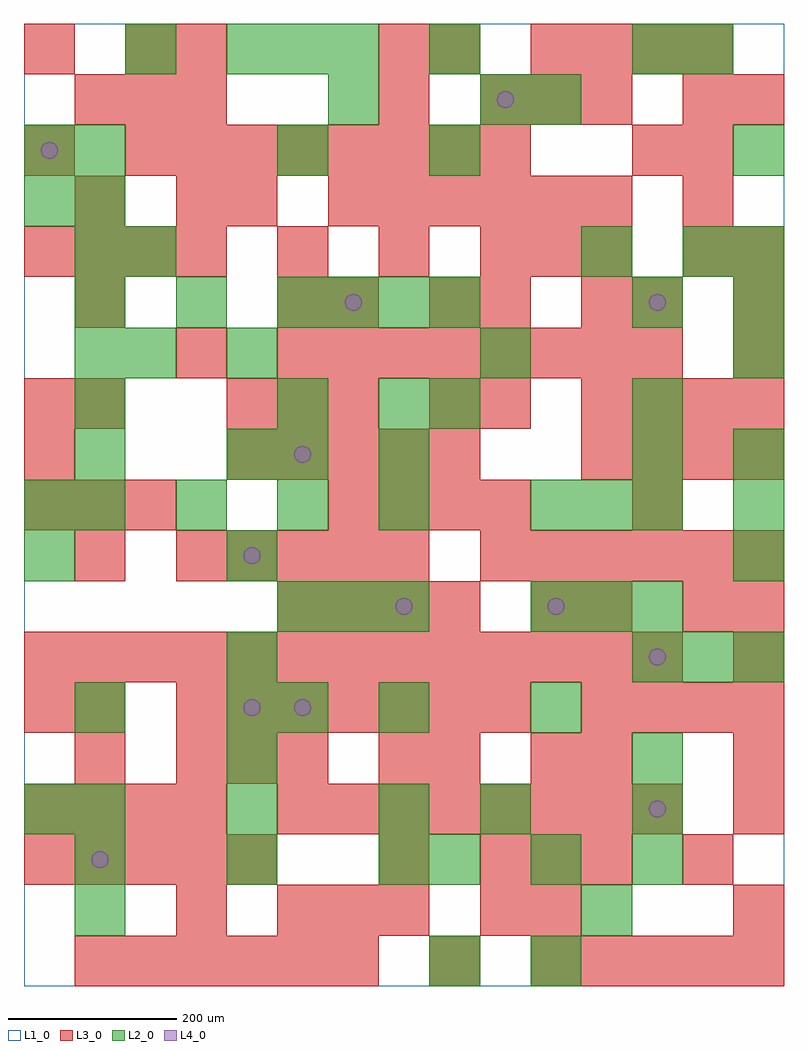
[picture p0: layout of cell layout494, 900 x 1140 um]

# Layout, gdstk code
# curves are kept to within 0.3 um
import gdstk
lib = gdstk.Library(unit=1e-6, precision=1e-09)
def R(c, l, rs):  # rectangles x0, y0, x1, y1
    for r in rs: c.add(gdstk.rectangle(r[:2], r[2:], *l))
def A(c, l, x, y, w, h, nx, ny, dx, dy):  # array of equal rectangles
    R(c, l, [(x+i*dx, y+j*dy, x+i*dx+w, y+j*dy+h) for i in range(nx) for j in range(ny)])
def P(c, l, *ps):  # polygons
    for p in ps: c.add(gdstk.Polygon(p, *l))
L1_0 = (1, 0)
L2_0 = (2, 0)
L3_0 = (3, 0)
L4_0 = (4, 0)

layout494 = lib.new_cell('layout494')
R(layout494, L1_0, [(0,0,900,1140)])
A(layout494, L2_0, 60, 120, 60, 60, 3, 2, 180, 60)
A(layout494, L2_0, 480, 120, 60, 60, 3, 1, 120, 0)
A(layout494, L2_0, 240, 240, 60, 60, 1, 3, 0, 60)
A(layout494, L2_0, 720, 360, 60, 60, 3, 1, 60, 0)
A(layout494, L2_0, 300, 420, 60, 60, 3, 1, 60, 0)
A(layout494, L2_0, 600, 420, 60, 60, 3, 2, 60, 120)
A(layout494, L2_0, 840, 480, 60, 60, 1, 3, 0, 60)
A(layout494, L2_0, 60, 540, 60, 60, 4, 1, 120, 0)
A(layout494, L2_0, 60, 600, 60, 60, 1, 3, 0, 60)
A(layout494, L2_0, 240, 720, 60, 60, 3, 1, 300, 0)
A(layout494, L2_0, 60, 780, 60, 60, 3, 1, 120, 0)
A(layout494, L2_0, 360, 780, 60, 60, 3, 1, 60, 0)
A(layout494, L2_0, 60, 840, 60, 60, 1, 3, 0, 60)
A(layout494, L2_0, 240, 1080, 60, 60, 3, 1, 60, 0)
R(layout494, L2_0, [(480,0,540,60), (600,0,660,60), (60,60,120,120), (660,60,720,120), (0,180,60,240), (540,180,600,240), (720,180,780,240), (720,240,780,300), (60,300,120,360), (300,300,360,360), (420,300,480,360), (600,300,660,360), (0,480,60,540), (240,480,300,540), (0,540,60,600), (240,600,300,660), (300,600,360,660), (420,600,480,660), (720,600,780,660), (300,660,360,720), (420,660,480,720), (480,660,540,720), (720,660,780,720), (120,720,180,780), (720,780,780,840), (840,780,900,840), (120,840,180,900), (660,840,720,900), (780,840,840,900), (840,840,900,900), (0,900,60,960), (0,960,60,1020), (300,960,360,1020), (480,960,540,1020), (840,960,900,1020), (360,1020,420,1080), (540,1020,600,1080), (600,1020,660,1080), (120,1080,180,1140), (480,1080,540,1140), (720,1080,780,1140), (780,1080,840,1140)])
A(layout494, L3_0, 60, 0, 60, 60, 6, 1, 60, 0)
A(layout494, L3_0, 600, 0, 60, 60, 5, 1, 60, 0)
A(layout494, L3_0, 300, 60, 60, 60, 3, 1, 60, 0)
A(layout494, L3_0, 600, 60, 60, 60, 1, 3, 0, 180)
A(layout494, L3_0, 0, 120, 60, 60, 5, 1, 60, 0)
A(layout494, L3_0, 540, 120, 60, 60, 3, 2, 60, 900)
A(layout494, L3_0, 0, 180, 60, 60, 4, 2, 60, 660)
A(layout494, L3_0, 300, 180, 60, 60, 8, 2, 60, 540)
A(layout494, L3_0, 180, 240, 60, 60, 3, 1, 60, 0)
A(layout494, L3_0, 60, 300, 60, 60, 1, 3, 0, 180)
A(layout494, L3_0, 180, 300, 60, 60, 7, 1, 60, 0)
A(layout494, L3_0, 660, 300, 60, 60, 4, 2, 60, 300)
A(layout494, L3_0, 0, 360, 60, 60, 13, 1, 60, 0)
A(layout494, L3_0, 300, 420, 60, 60, 4, 1, 60, 0)
A(layout494, L3_0, 180, 480, 60, 60, 5, 1, 60, 0)
A(layout494, L3_0, 540, 480, 60, 60, 6, 1, 60, 0)
A(layout494, L3_0, 0, 540, 60, 60, 3, 1, 60, 0)
A(layout494, L3_0, 360, 540, 60, 60, 4, 1, 60, 0)
A(layout494, L3_0, 240, 600, 60, 60, 5, 1, 60, 0)
A(layout494, L3_0, 240, 660, 60, 60, 3, 1, 60, 0)
A(layout494, L3_0, 660, 660, 60, 60, 4, 1, 60, 0)
A(layout494, L3_0, 180, 720, 60, 60, 1, 3, 0, 180)
A(layout494, L3_0, 840, 720, 60, 60, 1, 3, 0, 60)
A(layout494, L3_0, 300, 840, 60, 60, 3, 1, 120, 0)
A(layout494, L3_0, 780, 840, 60, 60, 1, 4, 0, 60)
A(layout494, L3_0, 360, 900, 60, 60, 6, 1, 60, 0)
A(layout494, L3_0, 120, 960, 60, 60, 8, 1, 60, 0)
A(layout494, L3_0, 60, 1020, 60, 60, 3, 1, 60, 0)
A(layout494, L3_0, 600, 1080, 60, 60, 4, 1, 60, 0)
R(layout494, L3_0, [(480,0,540,60), (180,60,240,120), (540,60,600,120), (840,60,900,120), (420,120,480,180), (780,120,840,180), (840,180,900,240), (60,240,120,300), (420,240,480,300), (480,240,540,300), (660,240,720,300), (840,240,900,300), (0,300,60,360), (840,360,900,420), (660,420,720,480), (780,420,840,480), (840,420,900,480), (720,540,780,600), (0,600,60,660), (0,660,60,720), (480,660,540,720), (540,660,600,720), (60,780,120,840), (300,780,360,840), (360,780,420,840), (480,780,540,840), (540,780,600,840), (660,780,720,840), (720,780,780,840), (600,840,660,900), (660,840,720,900), (60,900,120,960), (240,900,300,960), (0,960,60,1020), (720,960,780,1020), (420,1020,480,1080), (840,1020,900,1080), (0,1080,60,1140), (120,1080,180,1140), (420,1080,480,1140), (480,1080,540,1140)])
P(layout494, L4_0, [(40,990),(39.239,993.827),(37.071,997.071),(33.827,999.239),(30,1000),(26.173,999.239),(22.929,997.071),(20.761,993.827),(20,990),(20.761,986.173),(22.929,982.929),(26.173,980.761),(30,980),(33.827,980.761),(37.071,982.929),(39.239,986.173)],
  [(100,150),(99.239,153.827),(97.071,157.071),(93.827,159.239),(90,160),(86.173,159.239),(82.929,157.071),(80.761,153.827),(80,150),(80.761,146.173),(82.929,142.929),(86.173,140.761),(90,140),(93.827,140.761),(97.071,142.929),(99.239,146.173)],
  [(280,330),(279.239,333.827),(277.071,337.071),(273.827,339.239),(270,340),(266.173,339.239),(262.929,337.071),(260.761,333.827),(260,330),(260.761,326.173),(262.929,322.929),(266.173,320.761),(270,320),(273.827,320.761),(277.071,322.929),(279.239,326.173)],
  [(280,510),(279.239,513.827),(277.071,517.071),(273.827,519.239),(270,520),(266.173,519.239),(262.929,517.071),(260.761,513.827),(260,510),(260.761,506.173),(262.929,502.929),(266.173,500.761),(270,500),(273.827,500.761),(277.071,502.929),(279.239,506.173)],
  [(340,330),(339.239,333.827),(337.071,337.071),(333.827,339.239),(330,340),(326.173,339.239),(322.929,337.071),(320.761,333.827),(320,330),(320.761,326.173),(322.929,322.929),(326.173,320.761),(330,320),(333.827,320.761),(337.071,322.929),(339.239,326.173)],
  [(340,630),(339.239,633.827),(337.071,637.071),(333.827,639.239),(330,640),(326.173,639.239),(322.929,637.071),(320.761,633.827),(320,630),(320.761,626.173),(322.929,622.929),(326.173,620.761),(330,620),(333.827,620.761),(337.071,622.929),(339.239,626.173)],
  [(400,810),(399.239,813.827),(397.071,817.071),(393.827,819.239),(390,820),(386.173,819.239),(382.929,817.071),(380.761,813.827),(380,810),(380.761,806.173),(382.929,802.929),(386.173,800.761),(390,800),(393.827,800.761),(397.071,802.929),(399.239,806.173)],
  [(460,450),(459.239,453.827),(457.071,457.071),(453.827,459.239),(450,460),(446.173,459.239),(442.929,457.071),(440.761,453.827),(440,450),(440.761,446.173),(442.929,442.929),(446.173,440.761),(450,440),(453.827,440.761),(457.071,442.929),(459.239,446.173)],
  [(580,1050),(579.239,1053.827),(577.071,1057.071),(573.827,1059.239),(570,1060),(566.173,1059.239),(562.929,1057.071),(560.761,1053.827),(560,1050),(560.761,1046.173),(562.929,1042.929),(566.173,1040.761),(570,1040),(573.827,1040.761),(577.071,1042.929),(579.239,1046.173)],
  [(640,450),(639.239,453.827),(637.071,457.071),(633.827,459.239),(630,460),(626.173,459.239),(622.929,457.071),(620.761,453.827),(620,450),(620.761,446.173),(622.929,442.929),(626.173,440.761),(630,440),(633.827,440.761),(637.071,442.929),(639.239,446.173)],
  [(760,210),(759.239,213.827),(757.071,217.071),(753.827,219.239),(750,220),(746.173,219.239),(742.929,217.071),(740.761,213.827),(740,210),(740.761,206.173),(742.929,202.929),(746.173,200.761),(750,200),(753.827,200.761),(757.071,202.929),(759.239,206.173)],
  [(760,390),(759.239,393.827),(757.071,397.071),(753.827,399.239),(750,400),(746.173,399.239),(742.929,397.071),(740.761,393.827),(740,390),(740.761,386.173),(742.929,382.929),(746.173,380.761),(750,380),(753.827,380.761),(757.071,382.929),(759.239,386.173)],
  [(760,810),(759.239,813.827),(757.071,817.071),(753.827,819.239),(750,820),(746.173,819.239),(742.929,817.071),(740.761,813.827),(740,810),(740.761,806.173),(742.929,802.929),(746.173,800.761),(750,800),(753.827,800.761),(757.071,802.929),(759.239,806.173)])

lib.write_gds('layout494.gds')
